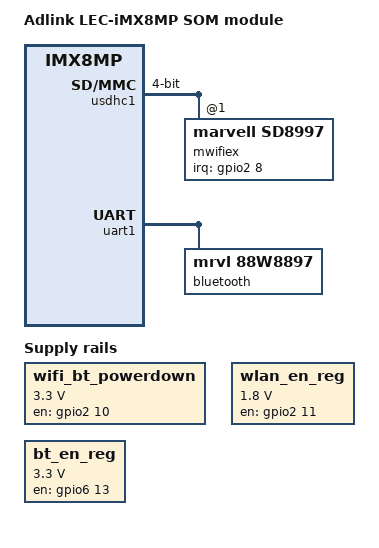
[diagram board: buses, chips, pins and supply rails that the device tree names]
// SPDX-License-Identifier: GPL-2.0
/*
 * Device Tree Source for the LEC-iMX8MP + I-Pi SMARC Plus platform
 * connected with the Raspberry Pi Camera Module v2.1
 *
 * Copyright (C) 2020 ADLINK Technology Inc. All Rights Reserved.
 */

#include "lec-imx8mp.dts"
/ {
	model = "Adlink LEC-iMX8MP SOM module";
	compatible = "fsl,imx8mp-evk", "fsl,imx8mp", "adlink,lec-imx8mp";

	wifi_bt_powerdown: regulator-wifi-bt {
		compatible = "regulator-fixed";
                regulator-name = "WIFI_BT_PD";
                regulator-min-microvolt = <3300000>;
                regulator-max-microvolt = <3300000>;
                gpio = <&gpio2 10 GPIO_ACTIVE_HIGH>;
                enable-active-high;
                startup-delay-us = <100>;
                off-on-delay-us = <12000>;
		regulator-always-on;
	};

	wlan_en_reg: regulator-usdhc1 {
		compatible = "regulator-fixed";
                regulator-name = "WIFI_WAKE";
                regulator-min-microvolt = <1800000>;
                regulator-max-microvolt = <1800000>;
                gpio = <&gpio2 11 GPIO_ACTIVE_HIGH>;
                enable-active-high;
                startup-delay-us = <100>;
                off-on-delay-us = <12000>;
		regulator-always-on;
	};

	bt_en_reg: regulator-uart1 {
		compatible = "regulator-fixed";
                regulator-name = "BT_WAKE";
                regulator-min-microvolt = <3300000>;
                regulator-max-microvolt = <3300000>;
                gpio = <&gpio6 13 GPIO_ACTIVE_HIGH>;
                enable-active-high;
                startup-delay-us = <100>;
                off-on-delay-us = <12000>;
		regulator-always-on;
	};
	/delete-node/ pinctrl_csi1_pwn;
	/delete-node/ pinctrl_csi1_rst;
};



&usdhc1 {
	//vmmc-supply = <&wlan_en_reg>;
	//mmc-pwrseq = <&wifi_pwrseq>;
	bus-width = <4>;
	keep-power-in-suspend;

	#address-cells = <1>;
	#size-cells = <0>;
	mwifiex: wifi@1 {
		 compatible = "marvell,sd8997";
		 reg = <1>;
		 interrupt-parent = <&gpio2>;
		 interrupts = <8 IRQ_TYPE_LEVEL_LOW>;

		 marvell,caldata_00_txpwrlimit_2g_cfg_set = /bits/ 8 <
			 0x01 0x00 0x06 0x00 0x08 0x02 0x89 0x01>;
		 marvell,wakeup-pin = <14>;
	 };
};


&uart1 {
	bluetooth {
                compatible = "mrvl,88w8897";
        };
};
